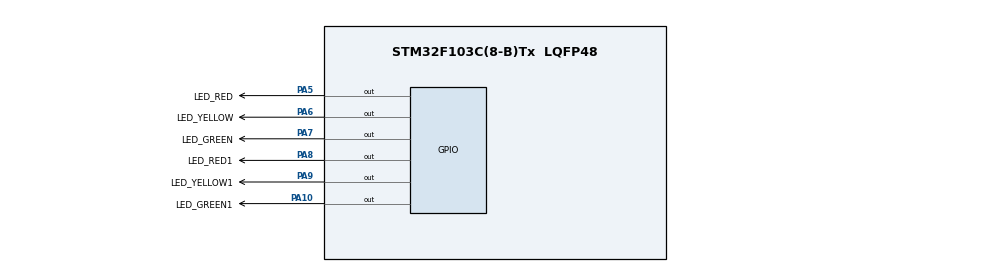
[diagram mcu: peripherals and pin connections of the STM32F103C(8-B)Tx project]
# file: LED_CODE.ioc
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Mcu.Family=STM32F1
Mcu.Name=STM32F103C(8-B)Tx
Mcu.Package=LQFP48
NVIC.PriorityGroup=NVIC_PRIORITYGROUP_4
PA10.GPIO_Label=LED_GREEN1
PA10.Signal=GPIO_Output
PA5.GPIO_Label=LED_RED
PA5.Signal=GPIO_Output
PA6.GPIO_Label=LED_YELLOW
PA6.Signal=GPIO_Output
PA7.GPIO_Label=LED_GREEN
PA7.Signal=GPIO_Output
PA8.GPIO_Label=LED_RED1
PA8.Signal=GPIO_Output
PA9.GPIO_Label=LED_YELLOW1
PA9.Signal=GPIO_Output
ProjectManager.HeapSize=0x200
ProjectManager.StackSize=0x400
ProjectManager.TargetToolchain=STM32CubeIDE
RCC.APB1Freq_Value=8000000
RCC.APB2Freq_Value=8000000
VP_SYS_VS_ND.Mode=No_Debug
board=custom

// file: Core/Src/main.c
/* USER CODE BEGIN Header */
/**
  ******************************************************************************
  * @file           : main.c
  * @brief          : Main program body
  ******************************************************************************
  * @attention
  *
  * Copyright (c) 2026 STMicroelectronics.
  * All rights reserved.
  *
  * This software is licensed under terms that can be found in the LICENSE file
  * in the root directory of this software component.
  * If no LICENSE file comes with this software, it is provided AS-IS.
  *
  ******************************************************************************
  */
/* USER CODE END Header */
#include "main.h"

/* USER CODE BEGIN PD */
typedef struct{
	uint16_t pintoTurnON;
	uint16_t pintoTurnOFF;
	uint32_t delayTime;
}TrafficState;

#define TIME_GREEN  3000
#define TIME_YELLOW 2000

TrafficState states[4] = {
    // -------------------------------------------------------------------------
    // STATE 0: Trục 1 XANH, Trục 2 ĐỎ
    // Trục 1 (PA7 sáng, PA5-6 tắt) | Trục 2 (PA8 sáng, PA9-10 tắt)
    // -------------------------------------------------------------------------
    {
        (LED_GREEN_Pin | LED_RED1_Pin),                                 // BẬT: Xanh 1, Đỏ 2
        (LED_RED_Pin | LED_YELLOW_Pin | LED_YELLOW1_Pin | LED_GREEN1_Pin),      // TẮT: Đỏ 1, Vàng 1, Vàng 2, Xanh 2
        TIME_GREEN
    },

    // -------------------------------------------------------------------------
    // STATE 1: Trục 1 VÀNG, Trục 2 ĐỎ
    // Trục 1 (PA6 sáng, PA5&7 tắt) | Trục 2 (PA8 sáng, PA9-10 tắt)
    // -------------------------------------------------------------------------
    {
        (LED_YELLOW_Pin | LED_RED1_Pin),                                 // BẬT: Vàng 1, Đỏ 2
        (LED_RED_Pin | LED_GREEN_Pin | LED_YELLOW1_Pin | LED_GREEN1_Pin),      // TẮT: Đỏ 1, Xanh 1, Vàng 2, Xanh 2
        TIME_YELLOW
    },

    // -------------------------------------------------------------------------
    // STATE 2: Trục 1 ĐỎ, Trục 2 XANH
    // Trục 1 (PA5 sáng, PA6-7 tắt) | Trục 2 (PA10 sáng, PA8-9 tắt)
    // -------------------------------------------------------------------------
    {
        (LED_RED_Pin | LED_GREEN1_Pin),                                // BẬT: Đỏ 1, Xanh 2
        (LED_GREEN_Pin | LED_YELLOW_Pin | LED_RED1_Pin | LED_YELLOW1_Pin),       // TẮT: Vàng 1, Xanh 1, Đỏ 2, Vàng 2
        TIME_GREEN
    },

    // -------------------------------------------------------------------------
    // STATE 3: Trục 1 ĐỎ, Trục 2 VÀNG
    // Trục 1 (PA5 sáng, PA6-7 tắt) | Trục 2 (PA9 sáng, PA8&10 tắt)
    // -------------------------------------------------------------------------
    {
        (LED_RED_Pin | LED_YELLOW1_Pin),                                 // BẬT: Đỏ 1, Vàng 2
        (LED_GREEN_Pin | LED_YELLOW_Pin | LED_RED1_Pin | LED_GREEN1_Pin),      // TẮT: Vàng 1, Xanh 1, Đỏ 2, Xanh 2
        TIME_YELLOW
    }
};
/* USER CODE END PD */

void SystemClock_Config(void);
static void MX_GPIO_Init(void);

/* USER CODE BEGIN 0 */

void TrafficLight_run_cycle(void)
{
	for (int i =0; i<4; i++)
	{
		HAL_GPIO_WritePin(GPIOA, states[i].pintoTurnOFF, GPIO_PIN_RESET);
		HAL_GPIO_WritePin(GPIOA, states[i].pintoTurnON, GPIO_PIN_SET);
		HAL_Delay(states[i].delayTime);
	}
}

/* USER CODE END 0 */

int main(void)
{

  /* USER CODE BEGIN 1 */
	//TODO ex3.1 using struct, point

  /* USER CODE END 1 */

  /* MCU Configuration--------------------------------------------------------*/

  /* Reset of all peripherals, Initializes the Flash interface and the Systick. */
  HAL_Init();

  /* Configure the system clock */
  SystemClock_Config();

  /* Initialize all configured peripherals */
  MX_GPIO_Init();

  /* Infinite loop */
  /* USER CODE BEGIN WHILE */

  while (1)
  {

	  TrafficLight_run_cycle();
    /* USER CODE END WHILE */

  }
}

void SystemClock_Config(void)
{
  RCC_OscInitTypeDef RCC_OscInitStruct = {0};
  RCC_ClkInitTypeDef RCC_ClkInitStruct = {0};

  /** Initializes the RCC Oscillators according to the specified parameters
  * in the RCC_OscInitTypeDef structure.
  */
  RCC_OscInitStruct.OscillatorType = RCC_OSCILLATORTYPE_HSI;
  RCC_OscInitStruct.HSIState = RCC_HSI_ON;
  RCC_OscInitStruct.HSICalibrationValue = RCC_HSICALIBRATION_DEFAULT;
  RCC_OscInitStruct.PLL.PLLState = RCC_PLL_NONE;
  if (HAL_RCC_OscConfig(&RCC_OscInitStruct) != HAL_OK)
  {
    Error_Handler();
  }

  /** Initializes the CPU, AHB and APB buses clocks
  */
  RCC_ClkInitStruct.ClockType = RCC_CLOCKTYPE_HCLK|RCC_CLOCKTYPE_SYSCLK
                              |RCC_CLOCKTYPE_PCLK1|RCC_CLOCKTYPE_PCLK2;
  RCC_ClkInitStruct.SYSCLKSource = RCC_SYSCLKSOURCE_HSI;
  RCC_ClkInitStruct.AHBCLKDivider = RCC_SYSCLK_DIV1;
  RCC_ClkInitStruct.APB1CLKDivider = RCC_HCLK_DIV1;
  RCC_ClkInitStruct.APB2CLKDivider = RCC_HCLK_DIV1;

  if (HAL_RCC_ClockConfig(&RCC_ClkInitStruct, FLASH_LATENCY_0) != HAL_OK)
  {
    Error_Handler();
  }
}

static void MX_GPIO_Init(void)
{
  GPIO_InitTypeDef GPIO_InitStruct = {0};

  /* GPIO Ports Clock Enable */
  __HAL_RCC_GPIOA_CLK_ENABLE();

  /*Configure GPIO pin Output Level */
  HAL_GPIO_WritePin(GPIOA, LED_RED_Pin|LED_YELLOW_Pin|LED_GREEN_Pin|LED_RED1_Pin
                          |LED_YELLOW1_Pin|LED_GREEN1_Pin, GPIO_PIN_RESET);

  /*Configure GPIO pins : LED_RED_Pin LED_YELLOW_Pin LED_GREEN_Pin LED_RED1_Pin
                           LED_YELLOW1_Pin LED_GREEN1_Pin */
  GPIO_InitStruct.Pin = LED_RED_Pin|LED_YELLOW_Pin|LED_GREEN_Pin|LED_RED1_Pin
                          |LED_YELLOW1_Pin|LED_GREEN1_Pin;
  GPIO_InitStruct.Mode = GPIO_MODE_OUTPUT_PP;
  GPIO_InitStruct.Pull = GPIO_NOPULL;
  GPIO_InitStruct.Speed = GPIO_SPEED_FREQ_LOW;
  HAL_GPIO_Init(GPIOA, &GPIO_InitStruct);

}

void Error_Handler(void)
{
  __disable_irq();
  while (1)
  {
  }
}
